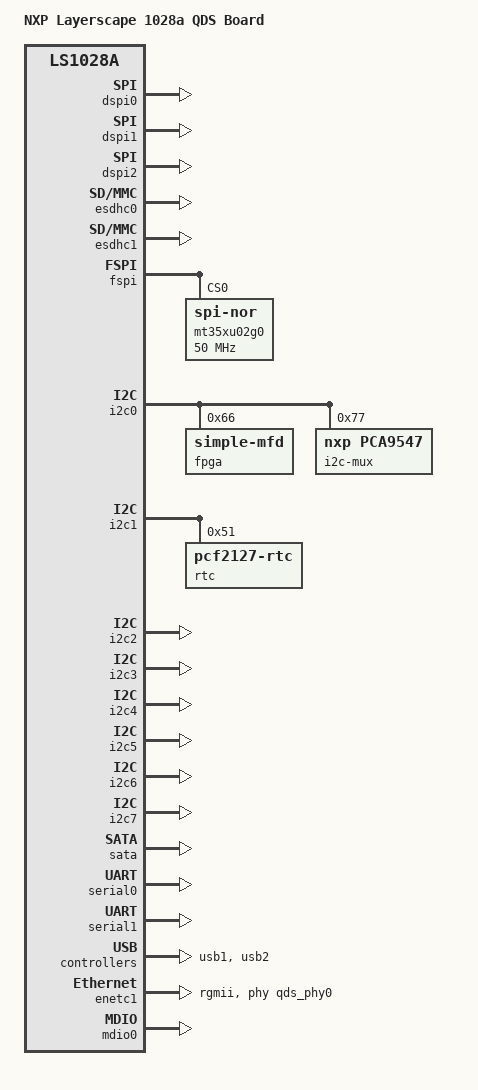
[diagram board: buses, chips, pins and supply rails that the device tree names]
// SPDX-License-Identifier: GPL-2.0+ OR X11
/*
 * NXP ls1028AQDS device tree source
 *
 * Copyright 2019 NXP
 *
 */

/dts-v1/;

#include "fsl-ls1028a.dtsi"

/ {
	model = "NXP Layerscape 1028a QDS Board";
	compatible = "fsl,ls1028a-qds", "fsl,ls1028a";
	aliases {
		spi0 = &fspi;
	};

};

&dspi0 {
	status = "okay";
};

&dspi1 {
	status = "okay";
};

&dspi2 {
	status = "okay";
};

&esdhc0 {
	status = "okay";
};

&esdhc1 {
	status = "okay";

};

&fspi {
	status = "okay";

	mt35xu02g0: flash@0 {
		#address-cells = <1>;
		#size-cells = <1>;
		compatible = "jedec,spi-nor";
		spi-max-frequency = <50000000>;
		reg = <0>;
		spi-rx-bus-width = <8>;
		spi-tx-bus-width = <1>;
	};
};

&i2c0 {
	status = "okay";
	u-boot,dm-pre-reloc;

	fpga@66 {
		#address-cells = <1>;
		#size-cells = <0>;
		compatible = "simple-mfd";
		reg = <0x66>;

		mux-mdio@54 {
			#address-cells = <1>;
			#size-cells = <0>;
			compatible = "mdio-mux-i2creg";
			reg = <0x54>;
			#mux-control-cells = <1>;
			mux-reg-masks = <0x54 0xf0>;
			mdio-parent-bus = <&mdio0>;

			/* on-board MDIO with a single RGMII PHY */
			mdio@00 {
				#address-cells = <1>;
				#size-cells = <0>;
				reg = <0x00>;

				qds_phy0: phy@5 {
					reg = <5>;
				};
			};
			/* slot 1 */
			slot1: mdio@40 {
				#address-cells = <1>;
				#size-cells = <0>;
				reg = <0x40>;
			};
			/* slot 2 */
			slot2: mdio@50 {
				#address-cells = <1>;
				#size-cells = <0>;
				reg = <0x50>;
			};
			/* slot 3 */
			slot3: mdio@60 {
				#address-cells = <1>;
				#size-cells = <0>;
				reg = <0x60>;
			};
			/* slot 4 */
			slot4: mdio@70 {
				#address-cells = <1>;
				#size-cells = <0>;
				reg = <0x70>;
			};
		};
	};

	i2c-mux@77 {
		compatible = "nxp,pca9547";
		reg = <0x77>;
		#address-cells = <1>;
		#size-cells = <0>;
	};
};

&i2c1 {
	status = "okay";

	rtc@51 {
		compatible = "pcf2127-rtc";
		reg = <0x51>;
	};
};

&i2c2 {
	status = "okay";
};

&i2c3 {
	status = "okay";
};

&i2c4 {
	status = "okay";
};

&i2c5 {
	status = "okay";
};

&i2c6 {
	status = "okay";
};

&i2c7 {
	status = "okay";
};

&sata {
	status = "okay";
};

&serial0 {
	status = "okay";
};

&serial1 {
	status = "okay";
};

&usb1 {
	status = "okay";
};

&usb2 {
	status = "okay";
};

&enetc1 {
	status = "okay";
	phy-mode = "rgmii";
	phy-handle = <&qds_phy0>;
};

&mdio0 {
	status = "okay";
};
